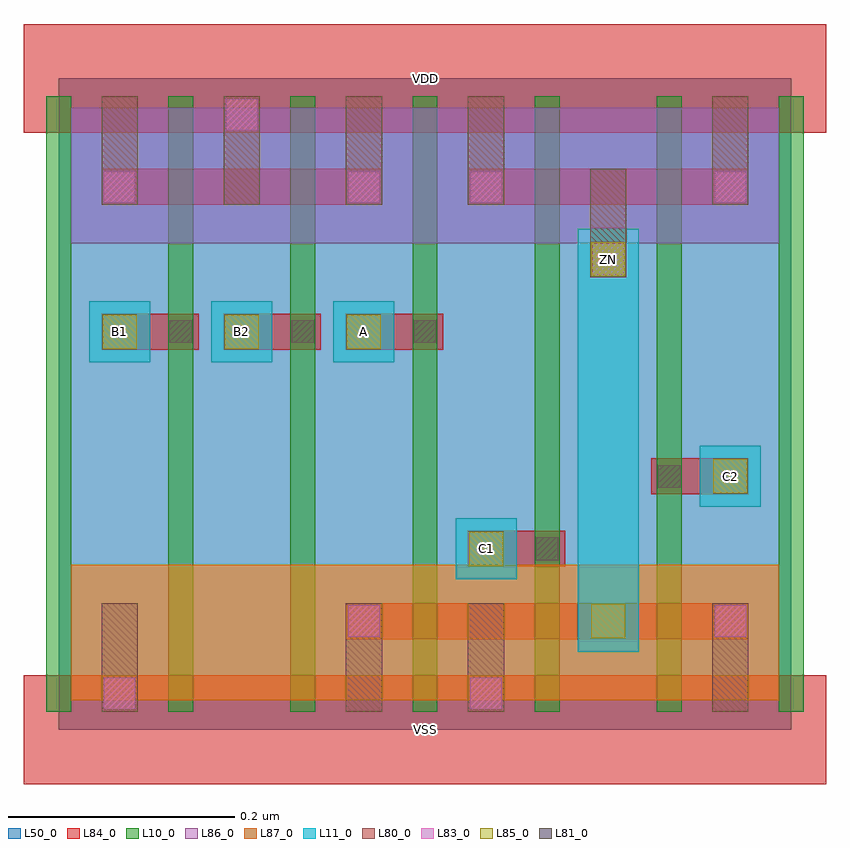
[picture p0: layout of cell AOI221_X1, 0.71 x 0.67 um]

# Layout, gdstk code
import gdstk
lib = gdstk.Library(unit=1e-6, precision=1e-09)
def R(c, l, rs):  # rectangles x0, y0, x1, y1
    for r in rs: c.add(gdstk.rectangle(r[:2], r[2:], *l))
def A(c, l, x, y, w, h, nx, ny, dx, dy):  # array of equal rectangles
    R(c, l, [(x+i*dx, y+j*dy, x+i*dx+w, y+j*dy+h) for i in range(nx) for j in range(ny)])
L10_0 = (10, 0)
L11_0 = (11, 0)
L50_0 = (50, 0)
L80_0 = (80, 0)
L81_0 = (81, 0)
L83_0 = (83, 0)
L84_0 = (84, 0)
L85_0 = (85, 0)
L86_0 = (86, 0)
L87_0 = (87, 0)

aoi221_x1 = lib.new_cell('AOI221_X1')
A(aoi221_x1, L10_0, -0.011, 0.016, 0.022, 0.544, 7, 1, 0.108, 0)
A(aoi221_x1, L11_0, 0.027, 0.325, 0.054, 0.054, 3, 1, 0.108, 0)
R(aoi221_x1, L11_0, [(0.459,0.069,0.513,0.443), (0.351,0.133,0.405,0.187), (0.567,0.197,0.621,0.251)])
R(aoi221_x1, L50_0, [(0,0,0.648,0.576)])
A(aoi221_x1, L80_0, 0.038, 0.464, 0.032, 0.096, 4, 1, 0.108, 0)
R(aoi221_x1, L80_0, [(0.038,0.016,0.07,0.112), (0.254,0.016,0.286,0.112), (0.362,0.016,0.394,0.112), (0.578,0.016,0.61,0.112), (0.47,0.4,0.502,0.496), (0.578,0.464,0.61,0.56)])
A(aoi221_x1, L81_0, 0.098, 0.342, 0.02, 0.02, 3, 1, 0.108, 0)
R(aoi221_x1, L81_0, [(0.422,0.15,0.442,0.17), (0.53,0.214,0.55,0.234)])
R(aoi221_x1, L83_0, [(0.04,0.018,0.068,0.046), (0.364,0.018,0.392,0.046), (0.256,0.082,0.284,0.11), (0.58,0.082,0.608,0.11), (0.472,0.402,0.5,0.43), (0.04,0.466,0.068,0.494), (0.256,0.466,0.284,0.494), (0.364,0.466,0.392,0.494), (0.58,0.466,0.608,0.494), (0.148,0.53,0.176,0.558)])
A(aoi221_x1, L84_0, 0.038, 0.336, 0.086, 0.032, 3, 1, 0.108, 0)
R(aoi221_x1, L84_0, [(-0.031,-0.048,0.679,0.048), (0.254,0.08,0.61,0.112), (0.362,0.144,0.448,0.176), (0.524,0.208,0.61,0.24), (0.47,0.4,0.502,0.432), (0.038,0.464,0.286,0.496), (0.362,0.464,0.61,0.496), (-0.031,0.528,0.679,0.624)])
A(aoi221_x1, L85_0, 0.039, 0.337, 0.03, 0.03, 3, 1, 0.108, 0)
R(aoi221_x1, L85_0, [(0.471,0.081,0.501,0.111), (0.363,0.145,0.393,0.175), (0.579,0.209,0.609,0.239), (0.471,0.401,0.501,0.431)])
R(aoi221_x1, L86_0, [(0.011,0.43,0.637,0.55)])
R(aoi221_x1, L87_0, [(0.011,0.026,0.637,0.146)])
aoi221_x1.add(gdstk.Label('VDD', (0.324,0.576), layer=88, texttype=0))
aoi221_x1.add(gdstk.Label('VSS', (0.324,0), layer=88, texttype=0))
aoi221_x1.add(gdstk.Label('ZN', (0.486,0.416), layer=31, texttype=0))
aoi221_x1.add(gdstk.Label('B2', (0.162,0.352), layer=31, texttype=0))
aoi221_x1.add(gdstk.Label('A', (0.27,0.352), layer=31, texttype=0))
aoi221_x1.add(gdstk.Label('C2', (0.594,0.224), layer=31, texttype=0))
aoi221_x1.add(gdstk.Label('C1', (0.378,0.16), layer=31, texttype=0))
aoi221_x1.add(gdstk.Label('B1', (0.054,0.352), layer=31, texttype=0))

lib.write_gds('AOI221_X1.gds')
